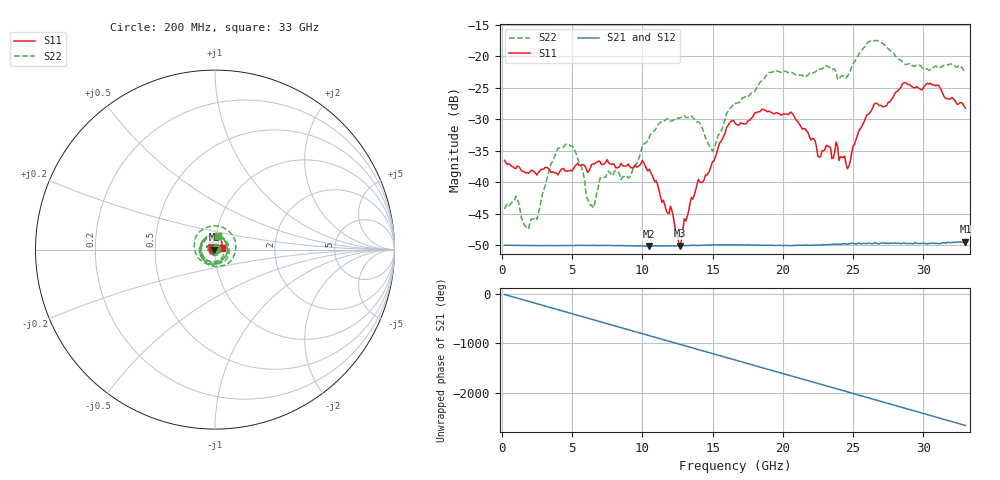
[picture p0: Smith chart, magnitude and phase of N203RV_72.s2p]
# GHZ S RI R 50
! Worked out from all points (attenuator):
!   329 points, 200 MHz to 33 GHz, reference 50 ohm
!   highest |S21| = -49.41 dB at 33 GHz (marker M1); lowest = -50.1 dB at 10.5 GHz (marker M2)
!   lowest |S11| = -50.1 dB at 12.7 GHz (marker M3), VSWR 1.01, Z = 49.7 + j0.00806 ohm
!   |S11| at or under -10 dB: start of sweep to end of sweep
!   |S22| runs from -47.4 to -17.5 dB; largest |S21 - S12| = 7.2e-05
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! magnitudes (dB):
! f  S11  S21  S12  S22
! 200 MHz  -36.5  -50.0  -50.0  -44.2
! 1 GHz  -37.8  -50.0  -50.0  -42.2
! 1.9 GHz  -38.6  -50.0  -50.1  -47.4
! 4 GHz  -38.8  -50.0  -50.0  -34.6
! 5.7 GHz  -37.2  -50.0  -50.0  -37.8
! 6.5 GHz  -37.1  -50.0  -50.0  -44.1
! 7 GHz  -36.7  -50.0  -50.0  -39.3
! 9.1 GHz  -37.5  -50.1  -50.1  -39.2
! 10.5 GHz  -37.9  -50.1  -50.1  -32.8
! 11.2 GHz  -41.4  -50.1  -50.1  -30.7
! 12.7 GHz  -50.1  -50.1  -50.1  -29.7
! 13.5 GHz  -42.4  -50.0  -50.0  -29.5
! 15 GHz  -36.7  -49.9  -49.9  -35.1
! 16.6 GHz  -30.6  -49.9  -49.9  -27.5
! 20.6 GHz  -28.9  -50.0  -50.0  -22.6
! 22.1 GHz  -33.0  -50.0  -49.9  -22.7
! 23.8 GHz  -33.6  -49.8  -49.8  -22.5
! 24.6 GHz  -37.8  -49.8  -49.8  -23.2
! 26 GHz  -29.3  -49.7  -49.6  -17.9
! 27.6 GHz  -27.2  -49.6  -49.7  -19.0
! 30.5 GHz  -24.3  -49.7  -49.7  -22.2
! 33 GHz  -28.2  -49.4  -49.4  -22.5
